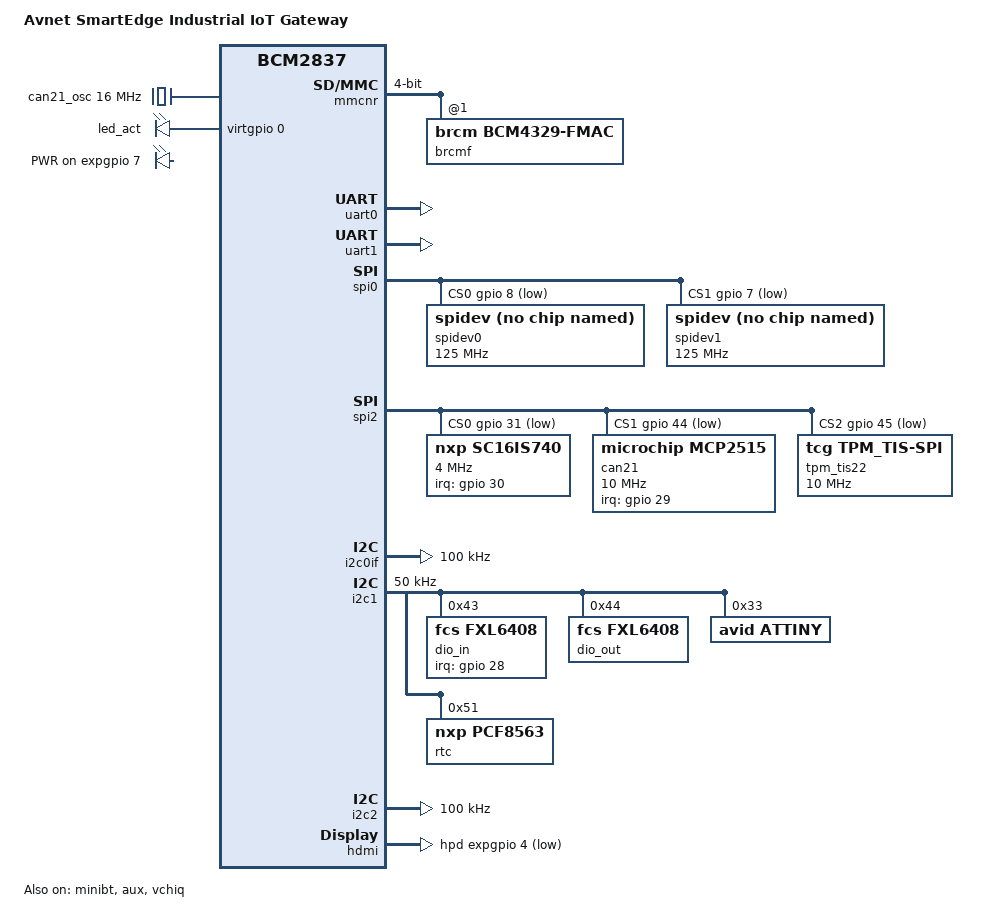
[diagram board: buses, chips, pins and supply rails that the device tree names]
// SPDX-License-Identifier: GPL-2.0
/*
 * Avnet SmartEdge Industrial IoT Gateway (AVTSE-RPI-IIOTG) device tree.
 *
 * Ported to kernel 6.18 (arm64) from the old 4.14.79 BSP:
 *   base template : bcm2710-rpi-3-b.dts @ rpi-6.18.y
 *   source        : bcm2710-rpi-custom.dts @ old Avnet fork 4.14.79
 *
 * NOTE: the core board is a Raspberry Pi 3 Model B (BCM2837), NOT a 3B+.
 * Verified 2026-10-12: old Avnet DTS compatible "raspberrypi,3-model-b",
 * smsc9514 ethernet, BCM43430A1 wifi/bt, 10/100 LAN, revision 0x60a220b0.
 * (A previous revision of this file was based on the 3B+ template; the
 * only real difference was the LAN7515 node and LED wiring, both
 * corrected here.)
 *
 * Board specifics driven here:
 *   I2C1 (50kHz, ATtiny clock stretching): @0x33 ATtiny, @0x43/@0x44 FXL6408,
 *                                          @0x51 PCF8563 RTC
 *   SPI2 (aux): CE0=GPIO31 SC16IS740 (RS-232/485), CE1=GPIO44 MCP2515 (CAN),
 *               CE2=GPIO45 SLB9670 TPM
 *   eMMC: SD1 pins GPIO34-39
 *
 * Differences from the 3B template marked with "SmartEdge:" comments below.
 */

/dts-v1/;

#include "bcm2710.dtsi"
#include "bcm2709-rpi.dtsi"
#include "bcm283x-rpi-smsc9514.dtsi"
#include "bcm283x-rpi-csi1-2lane.dtsi"
#include "bcm283x-rpi-i2c0mux_0_44.dtsi"
#include "bcm271x-rpi-bt.dtsi"
#include "bcm283x-rpi-led-deprecated.dtsi"

/ {
	compatible = "avnet,smartedge-iiot-gateway",
		     "raspberrypi,3-model-b", "brcm,bcm2837";
	model = "Avnet SmartEdge Industrial IoT Gateway";

	aliases {
		/*
		 * SmartEdge: the GPU firmware flips serial0/serial1 whenever
		 * uart0 is enabled (verified 2026-10-14), so the aliases are
		 * pre-set to the post-flip state - the firmware rewrite then
		 * becomes a no-op. The PL011 lives on the GPIO header, so
		 * /dev/serial0 = the header UART, exactly the stock semantics.
		 */
		serial0 = &uart0;
		serial1 = &uart1;
		mmc1 = &mmcnr;
		bluetooth = &minibt;
	};

	/* SmartEdge: external oscillators for UART bridge and CAN controller */
	clocks {
		#address-cells = <0x1>;
		#size-cells = <0x0>;

		sc16is740_clk: sc16is740_clk {
			compatible = "fixed-clock";
			#clock-cells = <0>;
			clock-frequency = <14745600>;
		};

		can21_osc: can21_osc {
			compatible = "fixed-clock";
			#clock-cells = <0>;
			clock-frequency = <16000000>;
		};
	};
};

&gpio {
	/*
	 * SmartEdge: GPIO usage differs from the stock reference board:
	 *   GPIO28  FXL6408 @0x43 interrupt (DIO)
	 *   GPIO29  MCP2515  interrupt
	 *   GPIO30  SC16IS740 interrupt
	 *   GPIO31  SPI2 CS0  (also claimed by the BT uart0 pins on a stock 3B)
	 *   GPIO40-42 SPI2 MISO/MOSI/SCLK (audio_pins on a stock 3B+ -> dropped)
	 *   GPIO43  BT GPCLK2
	 *   GPIO44  SPI2 CS1
	 *   GPIO45  SPI2 CS2
	 *
	 * Note: audio_pins (GPIO40/41) and the &vchiq audio pinctrl of the
	 * stock board are deliberately NOT instantiated here - GPIO40/41 are
	 * SPI2 data lines on this board.
	 */
	gpio-line-names = "ID_SDA",
			  "ID_SCL",
			  "GPIO2",
			  "GPIO3",
			  "GPIO4",
			  "GPIO5",
			  "GPIO6",
			  "GPIO7",
			  "GPIO8",
			  "GPIO9",
			  "GPIO10",
			  "GPIO11",
			  "GPIO12",
			  "GPIO13",
			  "GPIO14",
			  "GPIO15",
			  "GPIO16",
			  "GPIO17",
			  "GPIO18",
			  "GPIO19",
			  "GPIO20",
			  "GPIO21",
			  "GPIO22",
			  "GPIO23",
			  "GPIO24",
			  "GPIO25",
			  "GPIO26",
			  "GPIO27",
			  "FXL6408_IRQ_N",
			  "CAN_IRQ_N",
			  "SC16IS740_IRQ_N",
			  "SPI2_CE0_N",
			  "UART0_TXD",
			  "UART0_RXD",
			  "SD1_CLK",
			  "SD1_CMD",
			  "SD1_DATA0",
			  "SD1_DATA1",
			  "SD1_DATA2",
			  "SD1_DATA3",
			  "SPI2_MISO",
			  "SPI2_MOSI",
			  "SPI2_SCLK",
			  "BT_CLK",
			  "SPI2_CE1_N",
			  "SPI2_CE2_N",
			  "SDA0",
			  "SCL0",
			  "SMPS_SCL",
			  "SMPS_SDA",
			  "NC",
			  "NC",
			  "NC",
			  "NC";

	spi0_pins: spi0_pins {
		brcm,pins = <9 10 11>;
		brcm,function = <4>; /* alt0 */
	};

	spi0_cs_pins: spi0_cs_pins {
		brcm,pins = <8 7>;
		brcm,function = <1>; /* output */
	};

	/* SmartEdge: SPI2 on GPIO40-42, alt4 */
	spi2_pins: spi2_pins {
		brcm,pins = <40 41 42>;
		brcm,function = <BCM2835_FSEL_ALT4>;
	};

	/* SmartEdge: SPI2 chip selects are plain outputs (GPIO31/44/45) */
	spi2_cs_pins: spi2_cs_pins {
		brcm,pins = <31 44 45>;
		brcm,function = <BCM2835_FSEL_GPIO_OUT>;
	};

	i2c0_pins: i2c0 {
		brcm,pins = <0 1>;
		brcm,function = <4>;
	};

	i2c1_pins: i2c1 {
		brcm,pins = <2 3>;
		brcm,function = <4>;
	};

	i2s_pins: i2s {
		brcm,pins = <18 19 20 21>;
		brcm,function = <4>; /* alt0 */
	};

	sdio_pins: sdio_pins {
		brcm,pins =     <34 35 36 37 38 39>;
		brcm,function = <7>; // alt3 = SD1
		brcm,pull =     <0 2 2 2 2 2>;
	};

	bt_pins: bt_pins {
		brcm,pins = <43>;
		brcm,function = <4>; /* alt0:GPCLK2 */
		brcm,pull = <0>;
	};

	/*
	 * SmartEdge: PL011 pins on the GPIO header (14/15, /dev/ttyAMA0 =
	 * /dev/serial0). The node is deliberately NOT named "uart0_pins":
	 * whenever uart0 is enabled, the official GPU firmware rewrites the
	 * node of that exact name to the standard Pi3 BT quad (GPIO30-33) -
	 * which would trample GPIO30 (SC16IS740 IRQ) and GPIO31 (SPI2 CE0).
	 * Verified 2026-10-14: the rewrite targets the node NAME only and
	 * leaves every other pinctrl node untouched.
	 */
	uart0_hat_pins: uart0_hat_pins {
		brcm,pins = <14 15>;
		brcm,function = <4>; /* alt0 = PL011 */
		brcm,pull = <0 2>;
	};

	/*
	 * SmartEdge: the mini-uart carries the onboard BT, 2-wire on
	 * GPIO32/33 (alt5) plus the 32.768kHz LPO clock on GPIO43 (GPCLK2,
	 * muxed via bt_pins). This arrangement ran stable on the board from
	 * 2026-10-09; keeping it as the compiled-in default lets
	 * /dev/serial0 stay on the PL011/header permanently.
	 */
	uart1_bt_pins: uart1_bt_pins {
		brcm,pins = <32 33>;
		brcm,function = <BCM2835_FSEL_ALT5>; /* alt5=UART1 */
		brcm,pull = <0 2>;
	};

	/*
	 * Inert placeholder: the firmware rewrites the values of the node
	 * literally named "uart0_pins" when uart0 is enabled. Nothing
	 * references it, so the rewrite is a no-op.
	 */
	uart0_pins: uart0_pins {
		brcm,pins = <32 33>;
		brcm,function = <7>; /* alt3=UART0 */
		brcm,pull = <0 2>;
	};

	/* SmartEdge: interrupt inputs from SPI2 peripherals and DIO expander */
	sc16is740_pins: sc16is740_pins {
		brcm,pins = <30>;
		brcm,function = <BCM2835_FSEL_GPIO_IN>;
	};

	can21_pins: can21_pins {
		brcm,pins = <29>;
		brcm,function = <BCM2835_FSEL_GPIO_IN>;
	};
};

/*
 * SmartEdge: eMMC replaces the microSD card. mmcnr is the non-removable
 * variant of the SD1 controller and still hosts the SDIO WiFi device -
 * same arrangement as a stock 3B (card + SDIO share the SD1 bus).
 */
&mmcnr {
	pinctrl-names = "default";
	pinctrl-0 = <&sdio_pins>;
	bus-width = <4>;
	status = "okay";
	#address-cells = <1>;
	#size-cells = <0>;

	brcm,overclock-50 = <0>;

	brcmf: wifi@1 {
		reg = <1>;
		compatible = "brcm,bcm4329-fmac";
	};
};

&firmware {
	expgpio: expgpio {
		compatible = "raspberrypi,firmware-gpio";
		gpio-controller;
		#gpio-cells = <2>;
		gpio-line-names = "BT_ON",
				  "WL_ON",
				  "STATUS_LED",
				  "LAN_RUN",
				  "HDMI_HPD_N",
				  "CAM_GPIO0",
				  "CAM_GPIO1",
				  "PWR_LOW_N";
		status = "okay";
	};

	/*
	 * SmartEdge: the firmware virtual GPIO drives the activity LED
	 * (same arrangement as the stock 3B and the original Avnet DTS).
	 */
	virtgpio: virtgpio {
		compatible = "brcm,bcm2835-virtgpio";
		gpio-controller;
		#gpio-cells = <2>;
		status = "okay";
	};
};

/*
 * SmartEdge: UART arrangement (compiled-in default, single DTB):
 *   uart0 (PL011)  -> GPIO header, GPIO14/15 alt0: /dev/ttyAMA0,
 *                     /dev/serial0, boot console - stock 3B semantics.
 *   uart1 (mini-u) -> onboard BT, GPIO32/33 alt5 2-wire + GPIO43 LPO
 *                     clock; serdev "minibt" @921600.
 * When uart0 is enabled the GPU firmware (a) rewrites the values of the
 * pinctrl node literally named "uart0_pins" (left unreferenced above,
 * so inert) and (b) flips serial0/serial1 (pre-applied in aliases);
 * it attaches no pinctrl of its own, so GPIO30/31 (SC16IS740 IRQ,
 * SPI2 CE0) are never touched. Verified 2026-10-14.
 */
&uart0 {
	pinctrl-names = "default";
	pinctrl-0 = <&uart0_hat_pins>;
	status = "okay";
};

/* SmartEdge: mini-uart carries the onboard BT (2-wire + LPO clock) */
&uart1 {
	pinctrl-names = "default";
	pinctrl-0 = <&uart1_bt_pins &bt_pins>;
	status = "okay";
};

/* SmartEdge: PL011-side BT serdev retired in favour of the mini-uart */
&bt {
	status = "disabled";
};

/* SmartEdge: minibt (mini-uart BT) is the compiled-in default */
&minibt {
	status = "okay";
	/* 921600: proven on this board's 2-wire BT link (2026-10-09..14);
	 * upstream default 230400 would also work but wastes headroom. */
	max-speed = <921600>;
};

&spi0 {
	pinctrl-names = "default";
	pinctrl-0 = <&spi0_pins &spi0_cs_pins>;
	cs-gpios = <&gpio 8 1>, <&gpio 7 1>;

	spidev0: spidev@0{
		compatible = "spidev";
		reg = <0>;	/* CE0 */
		#address-cells = <1>;
		#size-cells = <0>;
		spi-max-frequency = <125000000>;
	};

	spidev1: spidev@1{
		compatible = "spidev";
		reg = <1>;	/* CE1 */
		#address-cells = <1>;
		#size-cells = <0>;
		spi-max-frequency = <125000000>;
	};
};

/* SmartEdge: auxiliary block supplies the SPI2 clock */
&aux {
	status = "okay";
};

&spi2 {
	pinctrl-names = "default";
	pinctrl-0 = <&spi2_pins &spi2_cs_pins>;
	cs-gpios = <&gpio 31 1>, <&gpio 44 1>, <&gpio 45 1>;
	status = "okay";

	/* Isolated RS-232/485/422 transceiver */
	sc16is740: sc16is740@0 {
		compatible = "nxp,sc16is740";
		reg = <0>; /* CE0 = GPIO31 */
		pinctrl-names = "default";
		pinctrl-0 = <&sc16is740_pins>;
		spi-max-frequency = <4000000>;
		clocks = <&sc16is740_clk>;
		interrupt-parent = <&gpio>;
		/*
		 * SC16IS7xx asserts an open-drain level-low interrupt, but the
		 * level mode locked the board up in the old BSP (shared with
		 * the TPM). Falling-edge keeps the ISR one-shot.
		 */
		interrupts = <30 2>; /* GPIO30, IRQ_TYPE_EDGE_FALLING */
		/*
		 * RS-485 is asserted by default (DE/RE tied to the bridge);
		 * kept disabled here - userspace toggles it per port via TIOCSRS485.
		 */
		status = "okay";
	};

	/* Isolated CAN controller */
	can21: mcp2515@1 {
		compatible = "microchip,mcp2515";
		reg = <1>; /* CE1 = GPIO44 */
		pinctrl-names = "default";
		pinctrl-0 = <&can21_pins>;
		spi-max-frequency = <10000000>;
		clocks = <&can21_osc>;
		interrupt-parent = <&gpio>;
		interrupts = <29 8>; /* GPIO29, IRQ_TYPE_LEVEL_LOW */
		status = "okay";
	};

	/*
	 * Trusted Platform Module.
	 * NOTE: upstream tpm_tis_spi has no DT reset support, so the old
	 * "gpio-reset" property was dropped - the reset line is released by
	 * the gpio-hog on the FXL6408 @0x44 instead (see below).
	 * NOTE: no IRQ wired - the shared IRQ with SC16IS740 caused an
	 * interrupt storm in the old BSP; the driver works in polling mode.
	 */
	tpm_tis22: tpm_tis@2 {
		compatible = "tcg,tpm_tis-spi";
		reg = <2>; /* CE2 = GPIO45 */
		spi-max-frequency = <10000000>;
		status = "okay";
	};
};

&i2c0if {
	clock-frequency = <100000>;
};

&i2c1 {
	pinctrl-names = "default";
	pinctrl-0 = <&i2c1_pins>;
	/* SmartEdge: ATtiny cannot take the traffic at 100kHz (bus errors) */
	clock-frequency = <50000>;
	status = "okay";

	/*
	 * Isolated digital I/O. Even-numbered lines are inputs, odd ones
	 * outputs (see User Guide). Line names mirror the legacy sysfs
	 * numbering of the old BSP so existing documentation still applies -
	 * the kernel base number is dynamic in 6.18, so userspace must look
	 * the lines up with libgpiod (by name or chip/offset), not by 200+.
	 */
	dio_in: gpio@43 {
		compatible = "fcs,fxl6408";
		reg = <0x43>;
		gpio-controller;
		#gpio-cells = <2>;
		ngpios = <8>;
		gpio-line-names = "GPIO200", "GPIO201", "GPIO202", "GPIO203",
				  "GPIO204", "GPIO205", "GPIO206", "GPIO207";
		interrupt-controller;
		#interrupt-cells = <2>;
		interrupt-parent = <&gpio>;
		interrupts = <28 8>; /* GPIO28, IRQ_TYPE_LEVEL_LOW */
	};

	dio_out: gpio@44 {
		compatible = "fcs,fxl6408";
		reg = <0x44>;
		gpio-controller;
		#gpio-cells = <2>;
		ngpios = <8>;
		gpio-line-names = "GPIO208", "GPIO209", "GPIO210", "GPIO211",
				  "GPIO212", "GPIO213", "GPIO214", "GPIO215";

		/*
		 * SmartEdge: line 3 of this expander drives the TPM reset
		 * (active low). Hog it high so the TPM is out of reset; this
		 * replaces the reset handling the old BSP had in the driver.
		 */
		tpm_reset_hog: tpm-reset-hog {
			gpio-hog;
			gpios = <3 GPIO_ACTIVE_LOW>;
			output-high;
			line-name = "TPM_RESET_N";
		};
	};

	/* System management MCU: watchdog, LEDs, factory-reset button */
	attiny: attiny@33 {
		compatible = "avid,attiny";
		reg = <0x33>;
		status = "okay";
	};

	/* Battery backed RTC */
	rtc: rtc@51 {
		compatible = "nxp,pcf8563";
		reg = <0x51>;
	};
};

&i2c2 {
	clock-frequency = <100000>;
};

&i2s {
	pinctrl-names = "default";
	pinctrl-0 = <&i2s_pins>;
};

/*
 * SmartEdge: the 3B+ activity LED (GPIO29) does not exist on this board -
 * GPIO29 is the MCP2515 interrupt. Like the original Avnet DTS and the
 * stock 3B, the activity LED sits on the firmware's virtual GPIO.
 */
&led_act {
	gpios = <&virtgpio 0 GPIO_ACTIVE_HIGH>;
	default-state = "off";
	linux,default-trigger = "mmc0";
};

&leds {
	led_pwr: led-pwr {
		label = "PWR";
		gpios = <&expgpio 7 GPIO_ACTIVE_HIGH>;
		default-state = "off";
		linux,default-trigger = "input";
	};
};

&hdmi {
	hpd-gpios = <&expgpio 4 GPIO_ACTIVE_LOW>;
};

&vchiq {
	/* no audio pins available - GPIO40/41 are SPI2 */
	status = "okay";
};

&cam1_reg {
	gpio = <&expgpio 5 GPIO_ACTIVE_HIGH>;
};

cam0_reg: &cam_dummy_reg {
};

i2c_csi_dsi0: &i2c0 {
};

/ {
	__overrides__ {
		audio = <&chosen>,"bootargs{on='snd_bcm2835.enable_headphones=1 snd_bcm2835.enable_hdmi=1',off='snd_bcm2835.enable_headphones=0 snd_bcm2835.enable_hdmi=0'}";

		act_led_gpio = <&led_act>,"gpios:4";
		act_led_activelow = <&led_act>,"gpios:8";
		act_led_trigger = <&led_act>,"linux,default-trigger";

		pwr_led_gpio = <&led_pwr>,"gpios:4";
		pwr_led_activelow = <&led_pwr>,"gpios:8";
		pwr_led_trigger = <&led_pwr>,"linux,default-trigger";

		/*
		 * SmartEdge serial options (config.txt) - the original Avnet
		 * four-option block collapses into one DTB + one switch,
		 * because the UART roles are fixed at compile time:
		 *
		 *   default            /dev/serial0 = PL011 on the header
		 *                      (ttyAMA0, console), /dev/serial1 = BT
		 *                      mini-uart; covers the original options
		 *                      0/1/2 semantics (BT reachable as hci0,
		 *                      header UART on serial0 either way)
		 *
		 *   smartedge_bt=off   disable onboard BT (original option 3);
		 *                      the mini-uart then shows up as a plain
		 *                      /dev/ttyS0 on GPIO32/33
		 *
		 * BT baud rate is adjustable with the upstream krnbt_baudrate
		 * override (e.g. dtparam=krnbt_baudrate=115200).
		 */
		smartedge_bt = <&minibt>,"status";
	};
};
